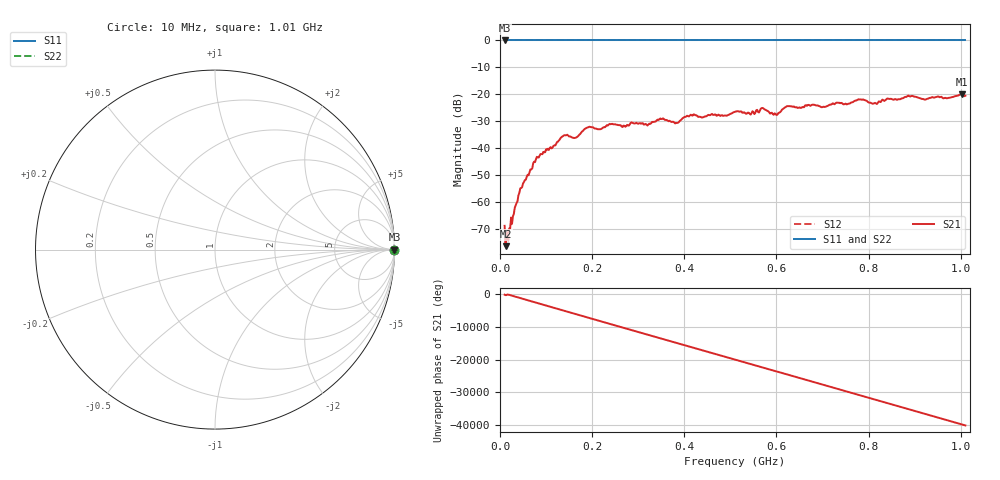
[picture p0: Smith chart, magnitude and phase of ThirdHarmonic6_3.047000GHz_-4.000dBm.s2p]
! 8/17/2025 8:50:22 AM
! C:\ANRITSUVNA\TEMP\TEMP.S2P
! CHANNEL.1
! TR.MEASUREMENT
! RAW.DATA
! RF.CORRECTION.OFF
! AVERAGING.OFF
! IF.BANDWIDTH: 5KHZ
! SWEEPTYPE:  FREQ.SWEEP(Linear)
! Reference Plane Port Info
! PORT:  PORT1  PORT2
! DISTANCE:  0  m  0  m
! TIME:  0  s  0  s
! PHASE.OFFSET:  0  deg.  0  deg.
! LOSS:  0  dB  0  dB
! REF.LOSS:  0  dB  0  dB
! REF.FREQ:  0  Hz  0  Hz
! Power Info
! POWER:  -20  dBm  -20  dBm
! EFF.POWER:  -20  dBm  -20  dBm
! SOURCE.ATTEN:  0  dB  0  dB
! TEST.ATTEN:  0  dB  0  dB
# GHZ S RI R 50.0
! FREQ.GHZ  S11RE  S11IM  S21RE  S21IM  S12RE  S12IM  S22RE  S22IM
!; PortSelection: Port_12
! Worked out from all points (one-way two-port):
!   501 points, 10 MHz to 1.01 GHz, reference 50 ohm
!   highest |S21| = -19.93 dB at 1.002 GHz (marker M1); lowest = -76.3 dB at 12 MHz (marker M2)
!   lowest |S11| = 0.0 dB at 10 MHz (marker M3)
!   |S11| at or under -10 dB: nowhere
!   |S22| runs from 0.0 to 0.0 dB; largest |S21 - S12| = 1.1
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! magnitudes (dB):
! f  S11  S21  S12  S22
! 10 MHz  0.0  -68.8  0.0  0.0
! 12 MHz  0.0  -76.3  0.0  0.0
! 16 MHz  0.0  -71.1  0.0  0.0
! 44 MHz  0.0  -54.9  0.0  0.0
! 76 MHz  0.0  -45.1  0.0  0.0
! 136 MHz  0.0  -35.6  0.0  0.0
! 164 MHz  0.0  -36.1  0.0  0.0
! 178 MHz  0.0  -33.8  0.0  0.0
! 192 MHz  0.0  -32.2  0.0  0.0
! 344 MHz  0.0  -29.5  0.0  0.0
! 384 MHz  0.0  -30.6  0.0  0.0
! 418 MHz  0.0  -27.9  0.0  0.0
! 510 MHz  0.0  -26.5  0.0  0.0
! 570 MHz  0.0  -25.0  0.0  0.0
! 598 MHz  0.0  -27.2  0.0  0.0
! 624 MHz  0.0  -24.4  0.0  0.0
! 678 MHz  0.0  -23.8  0.0  0.0
! 780 MHz  0.0  -21.9  0.0  0.0
! 814 MHz  0.0  -23.2  0.0  0.0
! 844 MHz  0.0  -21.7  0.0  0.0
! 1.002 GHz  0.0  -19.9  0.0  0.0
! 1.01 GHz  0.0  -20.5  0.0  0.0
